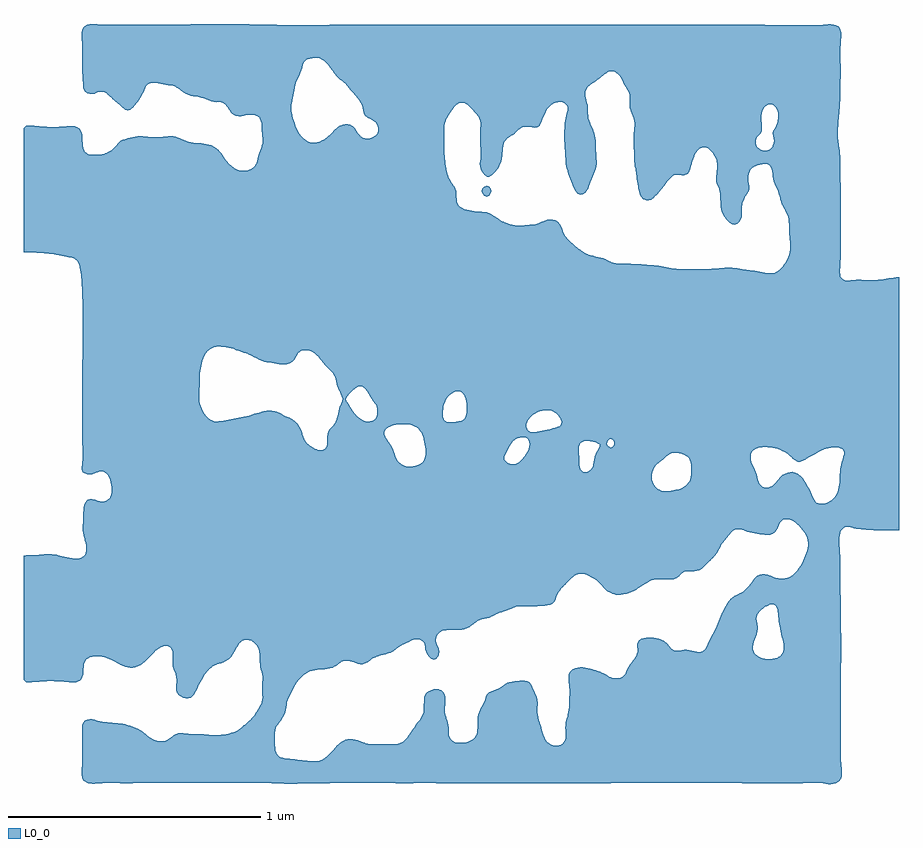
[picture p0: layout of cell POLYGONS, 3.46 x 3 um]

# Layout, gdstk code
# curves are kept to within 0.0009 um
import gdstk
lib = gdstk.Library(unit=1e-6, precision=1e-09)
def R(c, l, rs):  # rectangles x0, y0, x1, y1
    for r in rs: c.add(gdstk.rectangle(r[:2], r[2:], *l))
def P(c, l, *ps):  # polygons
    for p in ps: c.add(gdstk.Polygon(p, *l))
L0_0 = (0, 0)

polygons = lib.new_cell('POLYGONS')
R(polygons, L0_0, [(-0.5,-0.29,-0.34,-0.11), (-0.135,-0.29,0.01,-0.21), (0.329,-0.29,0.45,-0.18), (-0.135,-0.21,0.01,-0.09)])
P(polygons, L0_0, [(0.09,0.823),(0.1,0.818),(0.11,0.823),(0.117,0.84),(0.116,0.85),(0.11,0.858),(0.1,0.862),(0.09,0.858),(0.083,0.85),(0.081,0.84),(0.085,0.83)],
  [(-1.499,1.479),(-1.501,1.47),(-1.502,1.46),(-1.502,1.45),(-1.5,1.43),(-1.5,1.41),(-1.499,1.4),(-1.5,1.39),(-1.5,1.34),(-1.499,1.33),(-1.499,1.322)],
  [(-1.499,1.055),(-1.501,1.07),(-1.505,1.08),(-1.51,1.087),(-1.52,1.094),(-1.53,1.098),(-1.6,1.094),(-1.63,1.094),(-1.7,1.1),(-1.72,1.1),(-1.73,1.09),(-1.73,0.6),(-1.67,0.598),(-1.62,0.593),(-1.55,0.58),(-1.53,0.574),(-1.52,0.566),(-1.516,0.56),(-1.51,0.545),(-1.505,0.52),(-1.502,0.49),(-1.499,0.433)],
  [(-1.5,0.01),(-1.5,-0.12),(-1.499,-0.13),(-1.499,-0.15),(-1.499,0.123),(-1.499,0.06),(-1.5,0.05)],
  [(-1.499,-0.231),(-1.5,-0.239),(-1.5,-0.24),(-1.501,-0.25),(-1.501,-0.26),(-1.5,-0.263),(-1.499,-0.265)],
  [(-1.523,-1.1),(-1.51,-1.094),(-1.499,-1.08),(-1.499,-0.606),(-1.51,-0.611),(-1.53,-0.612),(-1.54,-0.611),(-1.6,-0.597),(-1.62,-0.594),(-1.64,-0.594),(-1.69,-0.599),(-1.73,-0.6),(-1.73,-1.09),(-1.72,-1.1),(-1.68,-1.099),(-1.63,-1.095),(-1.58,-1.097),(-1.54,-1.101)],
  [(-1.499,-1.276),(-1.499,-1.28),(-1.499,-1.29),(-1.499,-1.3),(-1.499,-1.302)],
  [(-1.499,-1.344),(-1.499,-1.36),(-1.5,-1.37),(-1.5,-1.38),(-1.499,-1.39),(-1.499,-1.4),(-1.5,-1.41),(-1.5,-1.43),(-1.502,-1.45),(-1.502,-1.46),(-1.501,-1.47),(-1.499,-1.479)],
  [(-1.398,1.499),(-1.45,1.502),(-1.47,1.501),(-1.48,1.499),(-1.49,1.493),(-1.499,1.48),(-1.499,1.31),(-1.495,1.25),(-1.49,1.237),(-1.482,1.23),(-1.47,1.226),(-1.45,1.227),(-1.44,1.232),(-1.43,1.235),(-1.42,1.235),(-1.41,1.232),(-1.4,1.226),(-1.398,1.223)],
  [(-1.398,0.994),(-1.41,0.989),(-1.43,0.985),(-1.46,0.985),(-1.47,0.986),(-1.482,0.99),(-1.49,0.996),(-1.496,1.01),(-1.498,1.02),(-1.499,1.055),(-1.499,0.42),(-1.498,0.41),(-1.499,0.03),(-1.398,0.03)],
  [(-1.398,0.03),(-1.499,0.03),(-1.499,-0.16),(-1.497,-0.19),(-1.497,-0.21),(-1.499,-0.23),(-1.499,-0.265),(-1.497,-0.27),(-1.49,-0.275),(-1.48,-0.279),(-1.46,-0.278),(-1.43,-0.267),(-1.42,-0.267),(-1.41,-0.27),(-1.398,-0.281)],
  [(-1.496,-1.07),(-1.493,-1.03),(-1.489,-1.02),(-1.483,-1.01),(-1.48,-1.008),(-1.47,-1.002),(-1.46,-0.999),(-1.45,-0.998),(-1.43,-0.998),(-1.41,-1.002),(-1.398,-1.006),(-1.398,-0.38),(-1.41,-0.385),(-1.42,-0.387),(-1.43,-0.386),(-1.45,-0.379),(-1.46,-0.377),(-1.47,-0.377),(-1.48,-0.382),(-1.487,-0.39),(-1.492,-0.4),(-1.495,-0.43),(-1.497,-0.5),(-1.484,-0.56),(-1.483,-0.58),(-1.485,-0.59),(-1.49,-0.599),(-1.499,-0.606),(-1.499,-1.079)],
  [(-1.45,-1.502),(-1.398,-1.499),(-1.398,-1.26),(-1.42,-1.257),(-1.45,-1.249),(-1.47,-1.246),(-1.48,-1.248),(-1.49,-1.253),(-1.496,-1.26),(-1.499,-1.27),(-1.499,-1.48),(-1.493,-1.49),(-1.48,-1.499),(-1.47,-1.501)],
  [(-1.318,1.16),(-1.31,1.162),(-1.301,1.17),(-1.28,1.195),(-1.259,1.23),(-1.25,1.252),(-1.244,1.26),(-1.24,1.263),(-1.23,1.268),(-1.22,1.27),(-1.2,1.268),(-1.17,1.262),(-1.17,1.5),(-1.398,1.499),(-1.398,1.223),(-1.39,1.217),(-1.36,1.188),(-1.33,1.163)],
  [(-1.17,1.057),(-1.19,1.055),(-1.23,1.055),(-1.26,1.058),(-1.28,1.058),(-1.31,1.053),(-1.34,1.044),(-1.35,1.039),(-1.38,1.005),(-1.398,0.994),(-1.398,0.03),(-1.17,0.03)],
  [(-1.389,-0.3),(-1.384,-0.32),(-1.382,-0.35),(-1.384,-0.36),(-1.388,-0.37),(-1.398,-0.38),(-1.398,-1.006),(-1.33,-1.04),(-1.32,-1.042),(-1.3,-1.043),(-1.28,-1.038),(-1.265,-1.03),(-1.253,-1.02),(-1.202,-0.97),(-1.19,-0.962),(-1.17,-0.957),(-1.17,0.03),(-1.398,0.03),(-1.398,-0.281),(-1.392,-0.29)],
  [(-1.32,-1.5),(-1.17,-1.498),(-1.17,-1.332),(-1.18,-1.334),(-1.2,-1.333),(-1.22,-1.326),(-1.24,-1.314),(-1.256,-1.3),(-1.27,-1.29),(-1.3,-1.276),(-1.34,-1.265),(-1.398,-1.26),(-1.398,-1.499)],
  [(-0.988,1.501),(-1.17,1.5),(-1.17,1.262),(-1.14,1.257),(-1.13,1.253),(-1.096,1.23),(-1.08,1.222),(-1.07,1.219),(-1.04,1.214),(-0.99,1.197),(-0.988,1.197)],
  [(-1.037,0.04),(-1.034,0.08),(-1.034,0.12),(-1.03,0.15),(-1.025,0.17),(-1.022,0.18),(-1.012,0.2),(-1.003,0.21),(-0.988,0.22),(-0.988,1.021),(-1,1.025),(-1.02,1.029),(-1.06,1.032),(-1.08,1.036),(-1.12,1.053),(-1.14,1.058),(-1.15,1.059),(-1.17,1.057),(-1.17,0.03),(-1.037,0.03)],
  [(-0.988,-0.065),(-1,-0.058),(-1.017,-0.04),(-1.023,-0.03),(-1.028,-0.02),(-1.034,0),(-1.036,0.01),(-1.037,0.03),(-1.17,0.03),(-1.17,-0.29),(-0.988,-0.29)],
  [(-1.08,-1.164),(-1.07,-1.161),(-1.06,-1.153),(-1.05,-1.137),(-1.038,-1.11),(-1.022,-1.08),(-1.008,-1.06),(-0.999,-1.05),(-0.988,-1.041),(-0.988,-0.29),(-1.17,-0.29),(-1.17,-0.957),(-1.16,-0.958),(-1.15,-0.964),(-1.142,-0.98),(-1.141,-1.04),(-1.138,-1.05),(-1.129,-1.07),(-1.127,-1.08),(-1.126,-1.09),(-1.127,-1.13),(-1.125,-1.14),(-1.119,-1.15),(-1.105,-1.16),(-1.09,-1.164)],
  [(-1.165,-1.33),(-1.17,-1.332),(-1.17,-1.498),(-0.988,-1.499),(-0.988,-1.31),(-1.04,-1.306),(-1.07,-1.306),(-1.11,-1.302),(-1.12,-1.303),(-1.13,-1.306),(-1.137,-1.31)],
  [(-0.917,1.16),(-0.909,1.15),(-0.9,1.143),(-0.89,1.139),(-0.87,1.138),(-0.85,1.143),(-0.84,1.144),(-0.82,1.143),(-0.81,1.139),(-0.81,1.5),(-0.988,1.501),(-0.988,1.197),(-0.97,1.193),(-0.96,1.194),(-0.95,1.193),(-0.94,1.188),(-0.93,1.179)],
  [(-0.97,0.226),(-0.96,0.227),(-0.93,0.224),(-0.91,0.22),(-0.85,0.2),(-0.81,0.18),(-0.81,0.954),(-0.817,0.94),(-0.83,0.929),(-0.85,0.922),(-0.86,0.921),(-0.88,0.924),(-0.894,0.93),(-0.909,0.94),(-0.92,0.95),(-0.93,0.962),(-0.96,1.002),(-0.98,1.017),(-0.988,1.021),(-0.988,0.22)],
  [(-0.81,-0.038),(-0.87,-0.053),(-0.94,-0.067),(-0.97,-0.07),(-0.988,-0.065),(-0.988,-0.29),(-0.81,-0.29)],
  [(-0.987,-1.04),(-0.97,-1.031),(-0.94,-1.021),(-0.92,-1.009),(-0.91,-0.999),(-0.88,-0.949),(-0.87,-0.939),(-0.86,-0.934),(-0.85,-0.933),(-0.84,-0.934),(-0.83,-0.937),(-0.82,-0.944),(-0.81,-0.954),(-0.81,-0.29),(-0.988,-0.29),(-0.988,-1.041)],
  [(-0.81,-1.219),(-0.82,-1.233),(-0.836,-1.25),(-0.87,-1.281),(-0.89,-1.294),(-0.92,-1.304),(-0.94,-1.308),(-0.97,-1.311),(-0.988,-1.31),(-0.988,-1.32),(-0.81,-1.32)],
  [(-0.96,-1.499),(-0.81,-1.498),(-0.81,-1.32),(-0.988,-1.32),(-0.988,-1.499)],
  [(-0.673,1.18),(-0.663,1.23),(-0.66,1.252),(-0.653,1.274),(-0.653,1.497),(-0.81,1.5),(-0.81,1.17),(-0.673,1.17)],
  [(-0.7,0.156),(-0.679,0.16),(-0.67,0.166),(-0.665,0.17),(-0.657,0.18),(-0.653,0.189),(-0.653,1.09),(-0.667,1.13),(-0.672,1.15),(-0.673,1.17),(-0.81,1.17),(-0.81,1.139),(-0.8,1.133),(-0.793,1.12),(-0.79,1.11),(-0.789,1.08),(-0.785,1.05),(-0.786,1.03),(-0.792,1.01),(-0.8,0.99),(-0.81,0.954),(-0.81,0.18),(-0.79,0.17),(-0.78,0.167),(-0.72,0.156)],
  [(-0.653,-0.074),(-0.671,-0.06),(-0.68,-0.055),(-0.72,-0.036),(-0.74,-0.029),(-0.75,-0.027),(-0.77,-0.028),(-0.79,-0.032),(-0.81,-0.038),(-0.81,-0.29),(-0.653,-0.29)],
  [(-0.739,-1.31),(-0.734,-1.28),(-0.729,-1.27),(-0.71,-1.246),(-0.7,-1.23),(-0.694,-1.21),(-0.69,-1.18),(-0.687,-1.17),(-0.663,-1.12),(-0.653,-1.104),(-0.653,-0.29),(-0.81,-0.29),(-0.81,-0.954),(-0.806,-0.96),(-0.799,-0.98),(-0.795,-1.04),(-0.786,-1.08),(-0.788,-1.11),(-0.788,-1.14),(-0.786,-1.16),(-0.787,-1.17),(-0.789,-1.18),(-0.81,-1.219),(-0.81,-1.32),(-0.739,-1.32)],
  [(-0.66,-1.502),(-0.653,-1.502),(-0.653,-1.407),(-0.7,-1.402),(-0.72,-1.395),(-0.726,-1.39),(-0.736,-1.37),(-0.739,-1.34),(-0.739,-1.32),(-0.81,-1.32),(-0.81,-1.498),(-0.73,-1.5),(-0.7,-1.502)],
  [(-0.65,1.281),(-0.633,1.32),(-0.623,1.35),(-0.62,1.354),(-0.61,1.362),(-0.58,1.369),(-0.57,1.369),(-0.56,1.366),(-0.548,1.36),(-0.54,1.354),(-0.526,1.34),(-0.5,1.303),(-0.5,1.499),(-0.653,1.497),(-0.653,1.274)],
  [(-0.57,1.034),(-0.58,1.032),(-0.59,1.032),(-0.61,1.039),(-0.63,1.054),(-0.643,1.07),(-0.653,1.09),(-0.653,0.189),(-0.647,0.2),(-0.64,0.207),(-0.63,0.212),(-0.61,0.213),(-0.6,0.211),(-0.59,0.207),(-0.569,0.19),(-0.545,0.16),(-0.507,0.12),(-0.5,0.106),(-0.5,1.085),(-0.52,1.063),(-0.54,1.047),(-0.56,1.037)],
  [(-0.53,-0.13),(-0.53,-0.15),(-0.533,-0.17),(-0.54,-0.179),(-0.55,-0.183),(-0.56,-0.184),(-0.57,-0.182),(-0.592,-0.17),(-0.61,-0.157),(-0.62,-0.143),(-0.632,-0.11),(-0.641,-0.09),(-0.653,-0.074),(-0.653,-0.29),(-0.5,-0.29),(-0.5,-0.074),(-0.52,-0.1),(-0.526,-0.11),(-0.529,-0.12)],
  [(-0.651,-1.1),(-0.644,-1.09),(-0.63,-1.076),(-0.622,-1.07),(-0.6,-1.058),(-0.57,-1.051),(-0.53,-1.048),(-0.51,-1.043),(-0.5,-1.038),(-0.5,-0.29),(-0.653,-0.29),(-0.653,-1.104)],
  [(-0.65,-1.502),(-0.61,-1.5),(-0.56,-1.501),(-0.5,-1.499),(-0.5,-1.36),(-0.53,-1.393),(-0.54,-1.401),(-0.56,-1.411),(-0.58,-1.414),(-0.6,-1.413),(-0.653,-1.407),(-0.653,-1.502)],
  [(-0.34,1.5),(-0.5,1.499),(-0.5,1.303),(-0.49,1.291),(-0.46,1.267),(-0.438,1.24),(-0.41,1.209),(-0.393,1.18),(-0.39,1.17),(-0.387,1.15),(-0.381,1.14),(-0.37,1.132),(-0.348,1.12),(-0.34,1.113)],
  [(-0.34,1.061),(-0.35,1.054),(-0.36,1.05),(-0.37,1.048),(-0.38,1.049),(-0.4,1.059),(-0.41,1.07),(-0.42,1.088),(-0.43,1.098),(-0.44,1.103),(-0.45,1.105),(-0.47,1.104),(-0.481,1.1),(-0.5,1.085),(-0.5,1.04),(-0.34,1.04)],
  [(-0.476,0),(-0.481,-0.01),(-0.49,-0.048),(-0.5,-0.074),(-0.5,-0.11),(-0.34,-0.11),(-0.34,-0.057),(-0.35,-0.066),(-0.36,-0.069),(-0.37,-0.07),(-0.38,-0.068),(-0.397,-0.06),(-0.412,-0.05),(-0.43,-0.03),(-0.45,0.004),(-0.456,0.01),(-0.458,0.02),(-0.444,0.04),(-0.43,0.054),(-0.42,0.062),(-0.41,0.067),(-0.399,0.07),(-0.39,0.068),(-0.38,0.059),(-0.373,0.05),(-0.34,-0.002),(-0.34,1.04),(-0.5,1.04),(-0.5,0.106),(-0.491,0.07),(-0.477,0.04),(-0.47,0.02),(-0.472,0.01)],
  [(-0.49,-1.031),(-0.47,-1.017),(-0.46,-1.015),(-0.43,-1.02),(-0.41,-1.027),(-0.4,-1.029),(-0.39,-1.029),(-0.38,-1.026),(-0.37,-1.021),(-0.356,-1.01),(-0.34,-1.001),(-0.34,-0.29),(-0.5,-0.29),(-0.5,-1.038)],
  [(-0.48,-1.499),(-0.34,-1.499),(-0.34,-1.346),(-0.37,-1.344),(-0.42,-1.328),(-0.44,-1.326),(-0.46,-1.329),(-0.48,-1.34),(-0.491,-1.35),(-0.5,-1.36),(-0.5,-1.499)],
  [(-0.135,1.5),(-0.34,1.5),(-0.34,1.113),(-0.332,1.1),(-0.329,1.09),(-0.329,1.08),(-0.332,1.07),(-0.34,1.061),(-0.34,1.04),(-0.135,1.04)],
  [(-0.34,-0.057),(-0.34,-0.11),(-0.306,-0.11),(-0.3,-0.1),(-0.29,-0.093),(-0.28,-0.088),(-0.26,-0.082),(-0.24,-0.08),(-0.21,-0.081),(-0.19,-0.086),(-0.18,-0.091),(-0.169,-0.1),(-0.156,-0.12),(-0.152,-0.13),(-0.143,-0.17),(-0.141,-0.19),(-0.141,-0.2),(-0.143,-0.21),(-0.147,-0.22),(-0.154,-0.23),(-0.168,-0.24),(-0.18,-0.245),(-0.2,-0.248),(-0.21,-0.248),(-0.22,-0.246),(-0.235,-0.24),(-0.248,-0.23),(-0.256,-0.22),(-0.261,-0.21),(-0.27,-0.182),(-0.276,-0.17),(-0.302,-0.13),(-0.306,-0.12),(-0.306,-0.11),(-0.34,-0.11),(-0.34,-0.29),(-0.135,-0.29),(-0.135,1.04),(-0.34,1.04),(-0.34,-0.002),(-0.333,-0.02),(-0.334,-0.04),(-0.336,-0.05)],
  [(-0.338,-1),(-0.32,-0.994),(-0.3,-0.99),(-0.28,-0.984),(-0.24,-0.956),(-0.2,-0.937),(-0.19,-0.933),(-0.18,-0.931),(-0.17,-0.931),(-0.16,-0.934),(-0.15,-0.942),(-0.146,-0.95),(-0.143,-0.97),(-0.14,-0.98),(-0.135,-0.99),(-0.135,-0.29),(-0.34,-0.29),(-0.34,-1.001)],
  [(-0.21,-1.5),(-0.135,-1.499),(-0.135,-1.14),(-0.14,-1.145),(-0.147,-1.16),(-0.149,-1.21),(-0.15,-1.22),(-0.153,-1.23),(-0.2,-1.299),(-0.22,-1.326),(-0.23,-1.335),(-0.24,-1.34),(-0.26,-1.345),(-0.34,-1.346),(-0.34,-1.499)],
  [(-0.069,1.05),(-0.068,1.1),(-0.066,1.11),(-0.059,1.13),(-0.039,1.16),(-0.03,1.172),(-0.02,1.182),(-0.01,1.189),(0,1.191),(0.01,1.19),(0.01,1.5),(-0.135,1.5),(-0.135,1.04),(-0.069,1.04)],
  [(-0.074,-0.03),(-0.072,-0.01),(-0.065,0.01),(-0.06,0.02),(-0.052,0.03),(-0.041,0.04),(-0.02,0.05),(-0.009,0.05),(0,0.046),(0.01,0.035),(0.01,0.77),(-0.007,0.78),(-0.015,0.79),(-0.018,0.8),(-0.021,0.84),(-0.024,0.85),(-0.029,0.86),(-0.049,0.89),(-0.057,0.91),(-0.064,0.95),(-0.068,0.99),(-0.069,1.04),(-0.135,1.04),(-0.135,-0.04),(-0.075,-0.04)],
  [(0.01,-0.061),(0,-0.067),(-0.02,-0.071),(-0.05,-0.073),(-0.06,-0.071),(-0.07,-0.062),(-0.074,-0.05),(-0.075,-0.04),(-0.135,-0.04),(-0.135,-0.09),(0.01,-0.09)],
  [(-0.104,-1.01),(-0.1,-1.008),(-0.093,-1),(-0.089,-0.99),(-0.088,-0.98),(-0.089,-0.97),(-0.098,-0.95),(-0.101,-0.94),(-0.101,-0.93),(-0.099,-0.92),(-0.09,-0.906),(-0.081,-0.9),(-0.07,-0.896),(-0.05,-0.894),(-0.01,-0.894),(0.01,-0.891),(0.01,-0.29),(-0.135,-0.29),(-0.135,-0.99),(-0.13,-0.998),(-0.12,-1.008),(-0.11,-1.012)],
  [(0.01,-1.339),(0.001,-1.34),(-0.02,-1.339),(-0.039,-1.33),(-0.046,-1.32),(-0.05,-1.31),(-0.051,-1.28),(-0.054,-1.26),(-0.065,-1.23),(-0.067,-1.22),(-0.064,-1.18),(-0.064,-1.16),(-0.066,-1.15),(-0.072,-1.14),(-0.08,-1.133),(-0.09,-1.129),(-0.1,-1.128),(-0.11,-1.129),(-0.12,-1.132),(-0.135,-1.14),(-0.135,-1.499),(0.01,-1.5)],
  [(0.112,0.9),(0.12,0.904),(0.13,0.913),(0.14,0.925),(0.15,0.942),(0.157,0.96),(0.16,0.974),(0.165,1.02),(0.167,1.03),(0.17,1.037),(0.17,1.499),(0.01,1.5),(0.01,1.19),(0.027,1.18),(0.056,1.15),(0.071,1.13),(0.076,1.11),(0.074,1.04),(0.077,0.99),(0.076,0.97),(0.073,0.95),(0.074,0.94),(0.076,0.93),(0.08,0.92),(0.09,0.905),(0.1,0.899)],
  [(0.17,0.718),(0.11,0.754),(0.1,0.757),(0.06,0.76),(0.04,0.763),(0.01,0.77),(0.01,0.035),(0.016,0.02),(0.021,-0.01),(0.02,-0.037),(0.016,-0.05),(0.01,-0.061),(0.01,-0.09),(0.17,-0.09)],
  [(0.17,-0.21),(0.17,-0.09),(0.01,-0.09),(0.01,-0.21),(0.17,-0.21)],
  [(0.17,-0.214),(0.17,-0.21),(0.01,-0.21),(0.01,-0.29),(0.17,-0.29)],
  [(0.015,-0.89),(0.035,-0.88),(0.061,-0.86),(0.07,-0.855),(0.086,-0.85),(0.11,-0.845),(0.14,-0.83),(0.17,-0.819),(0.17,-0.29),(0.01,-0.29),(0.01,-0.891)],
  [(0.02,-1.5),(0.17,-1.5),(0.17,-1.11),(0.15,-1.124),(0.11,-1.14),(0.1,-1.15),(0.09,-1.178),(0.074,-1.21),(0.066,-1.23),(0.064,-1.24),(0.064,-1.28),(0.062,-1.3),(0.059,-1.31),(0.053,-1.32),(0.04,-1.33),(0.03,-1.334),(0.01,-1.339),(0.01,-1.5)],
  [(0.172,1.04),(0.18,1.05),(0.21,1.069),(0.23,1.088),(0.24,1.093),(0.26,1.096),(0.29,1.091),(0.3,1.093),(0.309,1.1),(0.329,1.146),(0.329,1.499),(0.17,1.499),(0.17,1.037)],
  [(0.256,-0.08),(0.259,-0.07),(0.265,-0.06),(0.28,-0.045),(0.31,-0.03),(0.329,-0.026),(0.329,0.725),(0.31,0.716),(0.29,0.709),(0.24,0.705),(0.21,0.706),(0.19,0.71),(0.17,0.718),(0.17,-0.09),(0.256,-0.09)],
  [(0.26,-0.191),(0.248,-0.21),(0.239,-0.22),(0.228,-0.23),(0.21,-0.238),(0.2,-0.238),(0.19,-0.236),(0.18,-0.232),(0.17,-0.22),(0.17,-0.214),(0.17,-0.29),(0.329,-0.29),(0.329,-0.105),(0.28,-0.113),(0.27,-0.11),(0.26,-0.102),(0.256,-0.09),(0.17,-0.09),(0.17,-0.21),(0.173,-0.2),(0.19,-0.166),(0.2,-0.151),(0.213,-0.14),(0.22,-0.136),(0.23,-0.133),(0.25,-0.131),(0.26,-0.135),(0.263,-0.14),(0.267,-0.15),(0.269,-0.16),(0.266,-0.18)],
  [(0.18,-0.816),(0.22,-0.801),(0.23,-0.8),(0.29,-0.801),(0.329,-0.798),(0.329,-0.29),(0.17,-0.29),(0.17,-0.819)],
  [(0.19,-1.5),(0.329,-1.5),(0.329,-1.32),(0.324,-1.31),(0.301,-1.23),(0.3,-1.17),(0.289,-1.14),(0.275,-1.11),(0.267,-1.1),(0.26,-1.096),(0.25,-1.094),(0.24,-1.094),(0.189,-1.1),(0.18,-1.103),(0.17,-1.11),(0.17,-1.5)],
  [(0.45,1.499),(0.329,1.499),(0.329,1.146),(0.336,1.16),(0.35,1.178),(0.36,1.186),(0.369,1.19),(0.39,1.194),(0.4,1.192),(0.41,1.187),(0.417,1.18),(0.42,1.172),(0.42,1.16),(0.41,1.121),(0.407,1.08),(0.407,1.04),(0.412,0.96),(0.417,0.93),(0.426,0.9),(0.44,0.862),(0.45,0.842)],
  [(0.45,0.624),(0.431,0.64),(0.412,0.66),(0.401,0.68),(0.398,0.69),(0.389,0.71),(0.38,0.72),(0.37,0.726),(0.35,0.729),(0.329,0.725),(0.329,-0.026),(0.34,-0.025),(0.35,-0.026),(0.36,-0.029),(0.37,-0.035),(0.377,-0.04),(0.386,-0.05),(0.396,-0.07),(0.395,-0.08),(0.39,-0.086),(0.384,-0.09),(0.351,-0.1),(0.329,-0.105),(0.329,-0.18),(0.45,-0.18)],
  [(0.33,-0.798),(0.34,-0.797),(0.359,-0.79),(0.368,-0.78),(0.38,-0.749),(0.39,-0.736),(0.434,-0.69),(0.45,-0.678),(0.45,-0.29),(0.329,-0.29),(0.329,-0.798)],
  [(0.4,-1.501),(0.45,-1.5),(0.45,-1.045),(0.44,-1.05),(0.43,-1.06),(0.425,-1.07),(0.424,-1.09),(0.428,-1.13),(0.426,-1.2),(0.419,-1.24),(0.415,-1.25),(0.413,-1.26),(0.411,-1.28),(0.413,-1.3),(0.413,-1.32),(0.41,-1.33),(0.4,-1.343),(0.39,-1.349),(0.38,-1.352),(0.37,-1.352),(0.36,-1.35),(0.343,-1.34),(0.334,-1.33),(0.329,-1.32),(0.329,-1.5)],
  [(0.48,0.828),(0.49,0.835),(0.501,0.85),(0.507,0.87),(0.527,0.92),(0.533,0.94),(0.534,0.95),(0.529,1.05),(0.525,1.07),(0.502,1.13),(0.499,1.18),(0.491,1.21),(0.489,1.23),(0.491,1.24),(0.497,1.25),(0.507,1.26),(0.54,1.283),(0.56,1.3),(0.572,1.308),(0.572,1.499),(0.45,1.499),(0.45,0.842),(0.462,0.83),(0.47,0.827)],
  [(0.541,-0.18),(0.526,-0.21),(0.521,-0.24),(0.518,-0.25),(0.51,-0.263),(0.5,-0.269),(0.492,-0.27),(0.48,-0.268),(0.47,-0.257),(0.465,-0.23),(0.463,-0.18),(0.45,-0.18),(0.45,-0.29),(0.572,-0.29),(0.572,0.57),(0.55,0.578),(0.53,0.582),(0.502,0.59),(0.483,0.6),(0.45,0.624),(0.45,-0.18),(0.463,-0.18),(0.464,-0.17),(0.47,-0.156),(0.477,-0.15),(0.49,-0.146),(0.51,-0.147),(0.525,-0.15),(0.546,-0.16),(0.547,-0.17)],
  [(0.47,-0.671),(0.49,-0.674),(0.51,-0.683),(0.53,-0.695),(0.547,-0.71),(0.56,-0.725),(0.572,-0.736),(0.572,-0.29),(0.45,-0.29),(0.45,-0.678),(0.46,-0.673)],
  [(0.46,-1.5),(0.572,-1.5),(0.572,-1.072),(0.54,-1.057),(0.51,-1.048),(0.48,-1.042),(0.47,-1.042),(0.45,-1.045),(0.45,-1.5)],
  [(0.682,1.02),(0.683,0.98),(0.686,0.94),(0.699,0.85),(0.705,0.83),(0.709,0.82),(0.718,0.81),(0.73,0.805),(0.74,0.805),(0.747,0.807),(0.747,1.499),(0.572,1.499),(0.572,1.308),(0.58,1.313),(0.59,1.316),(0.6,1.315),(0.612,1.31),(0.62,1.304),(0.631,1.29),(0.64,1.27),(0.663,1.23),(0.666,1.22),(0.665,1.18),(0.666,1.17),(0.67,1.157),(0.682,1.13),(0.685,1.11),(0.682,1.07)],
  [(0.747,0.549),(0.67,0.554),(0.62,0.554),(0.592,0.56),(0.572,0.57),(0.572,-0.16),(0.574,-0.16),(0.576,-0.15),(0.58,-0.144),(0.59,-0.138),(0.6,-0.144),(0.603,-0.15),(0.604,-0.16),(0.599,-0.17),(0.59,-0.173),(0.58,-0.167),(0.574,-0.16),(0.572,-0.16),(0.572,-0.29),(0.747,-0.29)],
  [(0.63,-0.755),(0.65,-0.751),(0.67,-0.745),(0.69,-0.735),(0.71,-0.721),(0.747,-0.7),(0.747,-0.29),(0.572,-0.29),(0.572,-0.736),(0.58,-0.742),(0.596,-0.75),(0.61,-0.754)],
  [(0.58,-1.5),(0.747,-1.499),(0.747,-0.924),(0.73,-0.924),(0.72,-0.926),(0.708,-0.93),(0.7,-0.937),(0.695,-0.95),(0.695,-0.96),(0.697,-0.97),(0.696,-0.98),(0.689,-1),(0.661,-1.04),(0.65,-1.065),(0.64,-1.077),(0.63,-1.082),(0.61,-1.085),(0.6,-1.084),(0.587,-1.08),(0.572,-1.072),(0.572,-1.5)],
  [(0.92,1.5),(0.747,1.499),(0.747,1.04),(0.92,1.04)],
  [(0.75,0.808),(0.77,0.824),(0.814,0.88),(0.834,0.9),(0.84,0.904),(0.85,0.906),(0.87,0.903),(0.88,0.903),(0.89,0.907),(0.894,0.91),(0.9,0.918),(0.905,0.93),(0.912,0.96),(0.92,0.98),(0.92,1.04),(0.747,1.04),(0.747,0.807)],
  [(0.903,-0.22),(0.907,-0.23),(0.909,-0.25),(0.907,-0.29),(0.904,-0.3),(0.89,-0.32),(0.88,-0.328),(0.87,-0.333),(0.86,-0.337),(0.83,-0.344),(0.8,-0.345),(0.79,-0.343),(0.78,-0.339),(0.768,-0.33),(0.76,-0.32),(0.753,-0.3),(0.752,-0.29),(0.747,-0.29),(0.747,-0.7),(0.76,-0.695),(0.78,-0.693),(0.81,-0.694),(0.84,-0.693),(0.85,-0.689),(0.86,-0.681),(0.87,-0.67),(0.88,-0.664),(0.9,-0.661),(0.92,-0.661),(0.92,0.532),(0.86,0.533),(0.82,0.538),(0.78,0.546),(0.747,0.549),(0.747,-0.29),(0.752,-0.29),(0.753,-0.28),(0.758,-0.26),(0.763,-0.25),(0.77,-0.241),(0.807,-0.21),(0.82,-0.201),(0.83,-0.196),(0.84,-0.193),(0.85,-0.193),(0.87,-0.198),(0.895,-0.21)],
  [(0.75,-1.499),(0.92,-1.499),(0.92,-0.979),(0.89,-0.973),(0.88,-0.973),(0.85,-0.977),(0.84,-0.974),(0.83,-0.968),(0.816,-0.95),(0.8,-0.937),(0.78,-0.928),(0.747,-0.924),(0.747,-1.499)],
  [(1.11,1.499),(0.92,1.5),(0.92,1.04),(1.11,1.04)],
  [(0.93,0.997),(0.94,1.008),(0.95,1.013),(0.96,1.015),(0.97,1.013),(0.98,1.006),(0.99,0.996),(0.995,0.99),(1.007,0.97),(1.012,0.95),(1.012,0.94),(1.007,0.9),(1.007,0.88),(1.022,0.84),(1.025,0.79),(1.027,0.77),(1.03,0.76),(1.039,0.74),(1.05,0.726),(1.06,0.716),(1.07,0.71),(1.08,0.709),(1.09,0.712),(1.099,0.72),(1.108,0.74),(1.109,0.75),(1.11,1.04),(0.92,1.04),(0.92,0.981)],
  [(1.11,0.533),(1.06,0.539),(0.98,0.533),(0.92,0.532),(0.92,-0.21),(1.11,-0.21)],
  [(0.93,-0.66),(0.94,-0.657),(0.952,-0.65),(1.002,-0.6),(1.01,-0.59),(1.032,-0.55),(1.07,-0.504),(1.08,-0.498),(1.09,-0.495),(1.1,-0.495),(1.11,-0.497),(1.11,-0.21),(0.92,-0.21),(0.92,-0.661)],
  [(0.96,-0.974),(0.95,-0.98),(0.94,-0.982),(0.92,-0.979),(0.92,-1.499),(1.1,-1.499),(1.11,-1.5),(1.11,-0.744),(1.08,-0.759),(1.07,-0.766),(1.065,-0.77),(1.05,-0.789),(1.029,-0.83),(1.01,-0.88),(0.988,-0.92),(0.969,-0.96)],
  [(1.166,1.05),(1.173,1.06),(1.183,1.07),(1.188,1.08),(1.186,1.14),(1.19,1.158),(1.196,1.17),(1.2,1.175),(1.21,1.182),(1.22,1.184),(1.22,1.498),(1.11,1.499),(1.11,1.04),(1.163,1.04)],
  [(1.112,0.8),(1.122,0.82),(1.135,0.84),(1.138,0.85),(1.134,0.88),(1.134,0.9),(1.139,0.92),(1.146,0.93),(1.15,0.934),(1.162,0.94),(1.19,0.948),(1.2,0.949),(1.21,0.948),(1.22,0.942),(1.22,1.006),(1.21,1.002),(1.2,1),(1.19,1.002),(1.18,1.006),(1.17,1.014),(1.166,1.02),(1.163,1.03),(1.163,1.04),(1.11,1.04),(1.11,0.791)],
  [(1.144,-0.2),(1.15,-0.188),(1.16,-0.179),(1.17,-0.175),(1.18,-0.172),(1.2,-0.17),(1.22,-0.172),(1.22,0.516),(1.21,0.516),(1.16,0.526),(1.13,0.529),(1.11,0.533),(1.11,-0.21),(1.143,-0.21)],
  [(1.22,-0.517),(1.22,-0.328),(1.21,-0.331),(1.2,-0.331),(1.19,-0.328),(1.18,-0.319),(1.175,-0.31),(1.164,-0.27),(1.146,-0.23),(1.143,-0.21),(1.11,-0.21),(1.11,-0.497),(1.13,-0.505),(1.15,-0.51),(1.18,-0.515),(1.21,-0.518)],
  [(1.153,-0.95),(1.17,-0.9),(1.172,-0.88),(1.165,-0.85),(1.167,-0.84),(1.17,-0.833),(1.179,-0.82),(1.19,-0.81),(1.2,-0.803),(1.22,-0.793),(1.22,-0.679),(1.2,-0.674),(1.18,-0.675),(1.17,-0.68),(1.16,-0.69),(1.13,-0.728),(1.11,-0.744),(1.11,-0.96),(1.151,-0.96)],
  [(1.22,-1.009),(1.21,-1.009),(1.19,-1.005),(1.18,-1.002),(1.17,-0.996),(1.16,-0.988),(1.155,-0.98),(1.152,-0.97),(1.151,-0.96),(1.11,-0.96),(1.11,-1.5),(1.22,-1.5)],
  [(1.33,1.498),(1.22,1.498),(1.22,1.184),(1.23,1.183),(1.24,1.175),(1.244,1.17),(1.25,1.157),(1.253,1.14),(1.253,1.13),(1.25,1.115),(1.24,1.09),(1.233,1.08),(1.23,1.07),(1.235,1.05),(1.236,1.04),(1.235,1.03),(1.23,1.017),(1.22,1.006),(1.22,0.942),(1.226,0.93),(1.234,0.88),(1.242,0.86),(1.252,0.84),(1.267,0.79),(1.288,0.75),(1.291,0.74),(1.295,0.71),(1.296,0.67),(1.3,0.63),(1.3,0.62),(1.296,0.59),(1.288,0.57),(1.28,0.557),(1.268,0.54),(1.25,0.524),(1.243,0.52),(1.23,0.516),(1.22,0.516),(1.22,-0.172),(1.25,-0.178),(1.28,-0.192),(1.304,-0.21),(1.31,-0.216),(1.33,-0.228)],
  [(1.23,-0.514),(1.236,-0.51),(1.245,-0.5),(1.251,-0.49),(1.26,-0.468),(1.27,-0.458),(1.28,-0.456),(1.29,-0.456),(1.3,-0.458),(1.32,-0.468),(1.33,-0.477),(1.33,-0.277),(1.32,-0.272),(1.31,-0.269),(1.3,-0.27),(1.29,-0.272),(1.27,-0.281),(1.26,-0.29),(1.23,-0.323),(1.22,-0.328),(1.22,-0.517)],
  [(1.24,-0.796),(1.244,-0.8),(1.249,-0.81),(1.255,-0.86),(1.274,-0.95),(1.275,-0.97),(1.27,-0.985),(1.26,-0.997),(1.25,-1.003),(1.24,-1.006),(1.22,-1.009),(1.22,-1.5),(1.29,-1.501),(1.33,-1.5),(1.33,-0.656),(1.32,-0.668),(1.306,-0.68),(1.3,-0.684),(1.281,-0.69),(1.27,-0.692),(1.25,-0.69),(1.22,-0.679),(1.22,-0.793),(1.23,-0.792)],
  [(1.35,-0.225),(1.43,-0.181),(1.45,-0.175),(1.48,-0.171),(1.49,-0.172),(1.498,-0.175),(1.498,0.504),(1.496,0.52),(1.498,0.56),(1.498,0.97),(1.494,1.01),(1.489,1.04),(1.487,1.07),(1.489,1.11),(1.496,1.18),(1.498,1.23),(1.498,1.48),(1.493,1.49),(1.49,1.493),(1.48,1.498),(1.46,1.501),(1.39,1.497),(1.33,1.498),(1.33,-0.228),(1.34,-0.228)],
  [(1.35,-1.5),(1.42,-1.5),(1.45,-1.503),(1.47,-1.502),(1.48,-1.5),(1.49,-1.495),(1.496,-1.49),(1.498,-1.485),(1.498,-0.62),(1.494,-0.56),(1.494,-0.53),(1.495,-0.52),(1.498,-0.51),(1.498,-0.257),(1.494,-0.32),(1.487,-0.35),(1.48,-0.364),(1.47,-0.376),(1.465,-0.38),(1.45,-0.388),(1.44,-0.392),(1.43,-0.394),(1.41,-0.393),(1.4,-0.388),(1.394,-0.38),(1.376,-0.34),(1.36,-0.309),(1.35,-0.295),(1.34,-0.284),(1.33,-0.277),(1.33,-0.477),(1.34,-0.487),(1.36,-0.514),(1.367,-0.53),(1.37,-0.54),(1.371,-0.55),(1.37,-0.57),(1.36,-0.601),(1.35,-0.625),(1.33,-0.656),(1.33,-1.5)],
  [(1.499,1.42),(1.499,1.43),(1.5,1.437),(1.5,1.44),(1.501,1.45),(1.501,1.46),(1.501,1.47),(1.5,1.473),(1.498,1.479),(1.498,1.41)],
  [(1.498,1.28),(1.499,1.29),(1.499,1.3),(1.499,1.31),(1.499,1.32),(1.499,1.33),(1.499,1.34),(1.498,1.35),(1.498,1.352),(1.498,1.271)],
  [(1.499,0.57),(1.499,0.87),(1.498,0.88),(1.498,0.885),(1.498,0.565)],
  [(1.5,-0.504),(1.511,-0.49),(1.52,-0.486),(1.53,-0.485),(1.56,-0.493),(1.61,-0.498),(1.65,-0.5),(1.67,-0.499),(1.73,-0.5),(1.73,0.5),(1.71,0.499),(1.64,0.489),(1.56,0.49),(1.52,0.487),(1.51,0.49),(1.5,0.5),(1.498,0.504),(1.498,-0.175),(1.5,-0.175),(1.507,-0.18),(1.513,-0.19),(1.513,-0.2),(1.501,-0.24),(1.498,-0.257),(1.498,-0.508)],
  [(1.5,-1.482),(1.501,-1.48),(1.503,-1.47),(1.504,-1.46),(1.503,-1.45),(1.503,-1.44),(1.5,-1.41),(1.5,-1.03),(1.501,-1.02),(1.501,-0.91),(1.5,-0.9),(1.5,-0.82),(1.499,-0.81),(1.499,-0.76),(1.498,-0.75),(1.498,-0.744),(1.498,-1.485)])

lib.write_gds('POLYGONS.gds')
